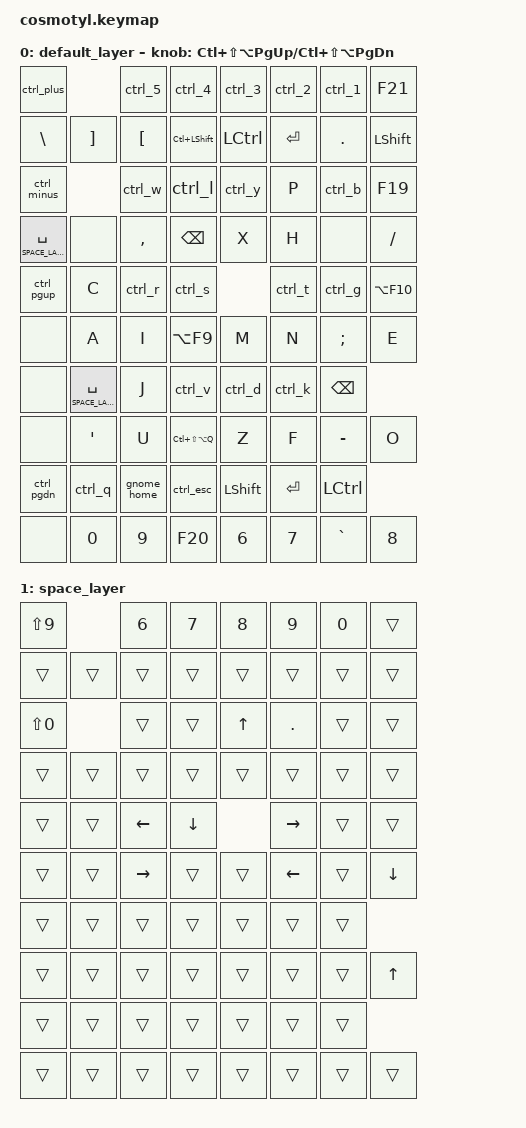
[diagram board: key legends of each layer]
#include <behaviors.dtsi>
#include <dt-bindings/zmk/keys.h>
#include <dt-bindings/zmk/modifiers.h>

#define SPACE_LAYER 1

/ {
    behaviors {
        gnome_home: gnome_home {
            compatible = "zmk,behavior-tap-dance";
            #binding-cells = <0>;
            tapping-term-ms = <250>;
            bindings = <&kp F24>, <&kp LC(LS(LA(A)))>;
        };

        /* Canary-style Ctrl shortcut morphs */
        ctrl_t: ctrl_t {
            compatible = "zmk,behavior-mod-morph";
            #binding-cells = <0>;
            bindings = <&kp T>, <&kp F13>;
            mods = <(MOD_LCTL | MOD_RCTL)>;
        };
        ctrl_r: ctrl_r {
            compatible = "zmk,behavior-mod-morph";
            #binding-cells = <0>;
            bindings = <&kp R>, <&kp F14>;
            mods = <(MOD_LCTL | MOD_RCTL)>;
        };
        ctrl_s: ctrl_s {
            compatible = "zmk,behavior-mod-morph";
            #binding-cells = <0>;
            bindings = <&kp S>, <&kp F15>;
            mods = <(MOD_LCTL | MOD_RCTL)>;
        };
        ctrl_y: ctrl_y {
            compatible = "zmk,behavior-mod-morph";
            #binding-cells = <0>;
            bindings = <&kp Y>, <&kp F16>;
            mods = <(MOD_LCTL | MOD_RCTL)>;
        };
        ctrl_k: ctrl_k {
            compatible = "zmk,behavior-mod-morph";
            #binding-cells = <0>;
            bindings = <&kp K>, <&kp F17>;
            mods = <(MOD_LCTL | MOD_RCTL)>;
        };
        ctrl_g: ctrl_g {
            compatible = "zmk,behavior-mod-morph";
            #binding-cells = <0>;
            bindings = <&kp G>, <&kp DEL>;
            mods = <(MOD_LCTL | MOD_RCTL)>;
        };
        ctrl_5: ctrl_5 {
            compatible = "zmk,behavior-mod-morph";
            #binding-cells = <0>;
            bindings = <&kp N5>, <&kp F5>;
            mods = <(MOD_LCTL | MOD_RCTL)>;
        };
        ctrl_4: ctrl_4 {
            compatible = "zmk,behavior-mod-morph";
            #binding-cells = <0>;
            bindings = <&kp N4>, <&kp F4>;
            mods = <(MOD_LCTL | MOD_RCTL)>;
        };
        ctrl_3: ctrl_3 {
            compatible = "zmk,behavior-mod-morph";
            #binding-cells = <0>;
            bindings = <&kp N3>, <&kp F3>;
            mods = <(MOD_LCTL | MOD_RCTL)>;
        };
        ctrl_2: ctrl_2 {
            compatible = "zmk,behavior-mod-morph";
            #binding-cells = <0>;
            bindings = <&kp N2>, <&kp F2>;
            mods = <(MOD_LCTL | MOD_RCTL)>;
        };
        ctrl_1: ctrl_1 {
            compatible = "zmk,behavior-mod-morph";
            #binding-cells = <0>;
            bindings = <&kp N1>, <&kp F1>;
            mods = <(MOD_LCTL | MOD_RCTL)>;
        };
        ctrl_v: ctrl_v {
            compatible = "zmk,behavior-mod-morph";
            #binding-cells = <0>;
            bindings = <&kp V>, <&kp F22>;
            mods = <(MOD_LCTL | MOD_RCTL)>;
        };
        ctrl_b: ctrl_b {
            compatible = "zmk,behavior-mod-morph";
            #binding-cells = <0>;
            bindings = <&kp B>, <&kp F23>;
            mods = <(MOD_LCTL | MOD_RCTL)>;
        };
        ctrl_w: ctrl_w {
            compatible = "zmk,behavior-mod-morph";
            #binding-cells = <0>;
            bindings = <&kp W>, <&kp LC(X)>;
            mods = <(MOD_LCTL | MOD_RCTL)>;
        };
        ctrl_q: ctrl_q {
            compatible = "zmk,behavior-mod-morph";
            #binding-cells = <0>;
            bindings = <&kp Q>, <&kp LC(V)>;
            mods = <(MOD_LCTL | MOD_RCTL)>;
        };
        ctrl_l: ctrl_l {
            compatible = "zmk,behavior-mod-morph";
            #binding-cells = <0>;
            bindings = <&kp L>, <&kp LC(A)>;
            mods = <(MOD_LCTL | MOD_RCTL)>;
        };
        ctrl_d: ctrl_d {
            compatible = "zmk,behavior-mod-morph";
            #binding-cells = <0>;
            bindings = <&kp D>, <&kp LC(Z)>;
            mods = <(MOD_LCTL | MOD_RCTL)>;
        };

        /* Ctrl variants for navigation/symbol keys */
        ctrl_esc: ctrl_esc {
            compatible = "zmk,behavior-mod-morph";
            #binding-cells = <0>;
            bindings = <&kp ESC>, <&kp TAB>;
            mods = <(MOD_LCTL | MOD_RCTL)>;
        };
        ctrl_pgup: ctrl_pgup {
            compatible = "zmk,behavior-mod-morph";
            #binding-cells = <0>;
            bindings = <&kp PG_UP>, <&kp HOME>;
            mods = <(MOD_LCTL | MOD_RCTL)>;
        };
        ctrl_pgdn: ctrl_pgdn {
            compatible = "zmk,behavior-mod-morph";
            #binding-cells = <0>;
            bindings = <&kp PG_DN>, <&kp END>;
            mods = <(MOD_LCTL | MOD_RCTL)>;
        };
        ctrl_minus: ctrl_minus {
            compatible = "zmk,behavior-mod-morph";
            #binding-cells = <0>;
            bindings = <&kp MINUS>, <&kp LS(MINUS)>;
            mods = <(MOD_LCTL | MOD_RCTL)>;
        };
        ctrl_plus: ctrl_plus {
            compatible = "zmk,behavior-mod-morph";
            #binding-cells = <0>;
            bindings = <&kp LS(EQUAL)>, <&kp EQUAL>;
            mods = <(MOD_LCTL | MOD_RCTL | MOD_LSFT | MOD_RSFT)>;
        };
    };

    keymap {
        compatible = "zmk,keymap";

        default_layer {
            /* Encoder: clockwise volume up, counterclockwise volume down */
            sensor-bindings = <&inc_dec_kp LC(LS(LA(PG_UP))) LC(LS(LA(PG_DN)))>;

            bindings = <
                /* MATRIX ROW 0 */
                /* LEFT:  +     5     4     3     2     1     SOUND */
                &ctrl_plus &ctrl_5 &ctrl_4 &ctrl_3 &ctrl_2 &ctrl_1 &kp F21
                /* RIGHT: \     ]     [     CTRL+SHIFT CTRL  ENTER .     SHIFT */
                &kp BSLH &kp RBKT &kp LBKT &kp LC(LSHFT) &kp LCTRL &kp ENTER &kp DOT &kp LSHFT

                /* MATRIX ROW 1 */
                /* LEFT:  -     W     L     Y     P     B     LIGHT */
                &ctrl_minus &ctrl_w &ctrl_l &ctrl_y &kp P &ctrl_b &kp F19
                /* RIGHT: SPACE unused ,     BSPC  X     H     unused / */
                &lt SPACE_LAYER SPACE &none &kp COMMA &kp BSPC &kp X &kp H &none &kp SLASH

                /* MATRIX ROW 2 */
                /* LEFT:  PGUP  C     R     S     T     G     REPLAY */
                &ctrl_pgup &kp C &ctrl_r &ctrl_s &ctrl_t &ctrl_g &kp LA(F10)
                /* RIGHT: unused A     I     REC   M     N     ;     E */
                &none &kp A &kp I &kp LA(F9) &kp M &kp N &kp SEMI &kp E

                /* MATRIX ROW 3 */
                /* LEFT:  unused SPACE J     V     D     K     BSPC */
                &none &lt SPACE_LAYER SPACE &kp J &ctrl_v &ctrl_d &ctrl_k &kp BSPC
                /* RIGHT: unused '     U     ARM   Z     F     -     O */
                &none &kp SQT &kp U &kp LC(LS(LA(Q))) &kp Z &kp F &kp MINUS &kp O

                /* MATRIX ROW 4 */
                /* LEFT:  PGDN  Q     GNOME ESC   SHIFT ENTER CTRL */
                &ctrl_pgdn &ctrl_q &gnome_home &ctrl_esc &kp LSHFT &kp ENTER &kp LCTRL
                /* RIGHT: unused 0     9     A1    6     7     `     8 */
                &none &kp N0 &kp N9 &kp F20 &kp N6 &kp N7 &kp GRAVE &kp N8
            >;
        };

        space_layer {
            bindings = <
                /* MATRIX ROW 0 */
                /* LEFT:  +->(  5->6  4->7  3->8  2->9  1->0  SOUND */
                &kp LS(N9) &kp N6 &kp N7 &kp N8 &kp N9 &kp N0 &trans
                /* RIGHT */
                &trans &trans &trans &trans &trans &trans &trans &trans

                /* MATRIX ROW 1 */
                /* LEFT:  -->)  W     L     Y->UP P->.  B     LIGHT */
                &kp LS(N0) &trans &trans &kp UP &kp DOT &trans &trans
                /* RIGHT */
                &trans &trans &trans &trans &trans &trans &trans &trans

                /* MATRIX ROW 2 */
                /* LEFT:  PGUP  C     R->LEFT S->DOWN T->RIGHT G(no special) REPLAY */
                &trans &trans &kp LEFT &kp DOWN &kp RIGHT &trans &trans
                /* RIGHT: unused A     I->RIGHT REC   M     N->LEFT ;     E->DOWN */
                &trans &trans &kp RIGHT &trans &trans &kp LEFT &trans &kp DOWN

                /* MATRIX ROW 3 */
                /* LEFT */
                &trans &trans &trans &trans &trans &trans &trans
                /* RIGHT: unused '     U     ARM   Z     F     -     O->UP */
                &trans &trans &trans &trans &trans &trans &trans &kp UP

                /* MATRIX ROW 4 */
                /* LEFT */
                &trans &trans &trans &trans &trans &trans &trans
                /* RIGHT: unused 0     9     A1    6     7     `     8 */
                &trans &trans &trans &trans &trans &trans &trans &trans
            >;
        };
    };
};
